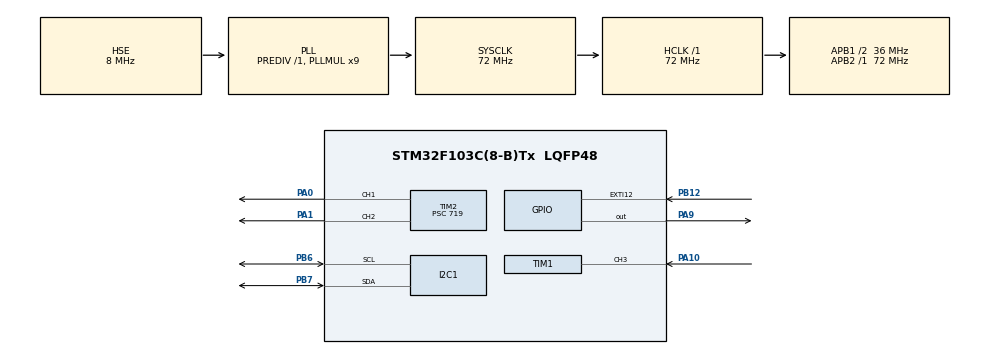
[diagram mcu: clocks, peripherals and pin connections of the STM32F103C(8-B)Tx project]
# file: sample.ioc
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I2C1.I2C_Mode=I2C_Fast
Mcu.Family=STM32F1
Mcu.Name=STM32F103C(8-B)Tx
Mcu.Package=LQFP48
NVIC.EXTI15_10_IRQn=true\:14\:0\:true\:false\:true\:true\:true\:true
NVIC.PriorityGroup=NVIC_PRIORITYGROUP_4
NVIC.TIM1_CC_IRQn=true\:0\:0\:false\:false\:true\:true\:true\:true
PA0-WKUP.Signal=S_TIM2_CH1_ETR
PA1.Signal=S_TIM2_CH2
PA10.Signal=S_TIM1_CH3
PA13.Mode=Serial_Wire
PA13.Signal=SYS_JTMS-SWDIO
PA14.Mode=Serial_Wire
PA14.Signal=SYS_JTCK-SWCLK
PA9.Signal=GPIO_Output
PB12.GPIO_ModeDefaultEXTI=GPIO_MODE_IT_FALLING
PB12.GPIO_PuPd=GPIO_PULLUP
PB12.Signal=GPXTI12
PB6.Mode=I2C
PB6.Signal=I2C1_SCL
PB7.Mode=I2C
PB7.Signal=I2C1_SDA
PC14-OSC32_IN.Mode=LSE-External-Oscillator
PC14-OSC32_IN.Signal=RCC_OSC32_IN
PC15-OSC32_OUT.Mode=LSE-External-Oscillator
PC15-OSC32_OUT.Signal=RCC_OSC32_OUT
PD0-OSC_IN.Mode=HSE-External-Oscillator
PD0-OSC_IN.Signal=RCC_OSC_IN
PD1-OSC_OUT.Mode=HSE-External-Oscillator
PD1-OSC_OUT.Signal=RCC_OSC_OUT
ProjectManager.HeapSize=0x200
ProjectManager.StackSize=0x400
ProjectManager.TargetToolchain=STM32CubeIDE
RCC.AHBFreq_Value=72000000
RCC.APB1CLKDivider=RCC_HCLK_DIV2
RCC.APB1Freq_Value=36000000
RCC.APB1TimFreq_Value=72000000
RCC.APB2Freq_Value=72000000
RCC.APB2TimFreq_Value=72000000
RCC.HCLKFreq_Value=72000000
RCC.PLLMUL=RCC_PLL_MUL9
RCC.PLLSourceVirtual=RCC_PLLSOURCE_HSE
RCC.SYSCLKFreq_VALUE=72000000
RCC.SYSCLKSource=RCC_SYSCLKSOURCE_PLLCLK
RCC.USBFreq_Value=72000000
SH.S_TIM1_CH3.0=TIM1_CH3,Input_Capture3_from_TI3
SH.S_TIM2_CH1_ETR.0=TIM2_CH1,PWM Generation1 CH1
SH.S_TIM2_CH2.0=TIM2_CH2,PWM Generation2 CH2
TIM1.Channel-Input_Capture3_from_TI3=TIM_CHANNEL_3
TIM1.Channel-Input_Capture4_from_TI3_63=TIM_CHANNEL_4
TIM1.ICPolarity_CH4=TIM_INPUTCHANNELPOLARITY_FALLING
TIM1.Prescaler=72-1
TIM2.Channel-PWM\ Generation1\ CH1=TIM_CHANNEL_1
TIM2.Channel-PWM\ Generation2\ CH2=TIM_CHANNEL_2
TIM2.Period=1999
TIM2.Prescaler=719
VP_TIM1_VS_ClockSourceINT.Mode=Internal
VP_TIM1_VS_indirect_ch3.Mode=Input_Capture4_from_TI3_63
VP_TIM2_VS_ClockSourceINT.Mode=Internal
board=custom

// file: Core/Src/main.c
/* USER CODE BEGIN Header */
/**
  ******************************************************************************
  * @file           : main.c
  * @brief          : Main program body
  ******************************************************************************
  * @attention
  *
  * Copyright (c) 2025 STMicroelectronics.
  * All rights reserved.
  *
  * This software is licensed under terms that can be found in the LICENSE file
  * in the root directory of this software component.
  * If no LICENSE file comes with this software, it is provided AS-IS.
  *
  ******************************************************************************
  */
/* USER CODE END Header */
#include "main.h"
#include "i2c.h"
#include "tim.h"
#include "gpio.h"

/* USER CODE BEGIN Includes */
#include "oled.h"
#include "font.h"

/* USER CODE END Includes */

/* USER CODE BEGIN PV */
#define OLED
//HCSR04 //OLED

#ifdef HCSR04
	int upEdge = 0;//获取上升沿时刻计数值
	int downEdge = 0;//获取下降沿时刻计数值
	float distance = 0;
#endif

#ifdef PWM
	uint16_t count = 150;
#endif

/* USER CODE END PV */

void SystemClock_Config(void);

/* USER CODE BEGIN 0 */
#ifdef HCSR04
// 输入捕获中断回调函数
	void HAL_TIM_IC_CaptureCallback(TIM_HandleTypeDef *htim)
	{
	  if(htim == &htim1 && htim -> Channel == HAL_TIM_ACTIVE_CHANNEL_4)
	  {
		  //使用捕获寄存器数值的函数HAL_TIM_ReadCapturedValue(htim, TIM_CHANNEL_3);
		  upEdge = HAL_TIM_ReadCapturedValue(htim, TIM_CHANNEL_3);
		  downEdge = HAL_TIM_ReadCapturedValue(htim, TIM_CHANNEL_4);
		  distance = ((downEdge - upEdge) * 0.034) / 2 ;
	  }
	}
#endif
#ifdef KEY
	void EXTI15_10_IRQHandler(void)
	{
	 HAL_Delay(10);
	 if(HAL_GPIO_ReadPin(GPIOB,GPIO_PIN_12)==GPIO_PIN_RESET)
	 {

	 }

	}
#endif
/* USER CODE END 0 */

int main(void)
{

  /* MCU Configuration--------------------------------------------------------*/

  /* Reset of all peripherals, Initializes the Flash interface and the Systick. */
  HAL_Init();

  /* Configure the system clock */
  SystemClock_Config();

  /* Initialize all configured peripherals */
  MX_GPIO_Init();
  MX_I2C1_Init();
  MX_TIM1_Init();
  MX_TIM2_Init();
  /* USER CODE BEGIN 2 */
#ifdef OLED
  HAL_Delay(20);
  OLED_Init();
#endif

#ifdef HCSR04
  HAL_Delay(20);
  OLED_Init();

  HAL_TIM_Base_Start(&htim1);//启动计时器计数

  //启用定时器对应通道的输入捕获功能
  HAL_TIM_IC_Start(&htim1,TIM_CHANNEL_3);//开启通道3的输入捕获
  //启动输入捕获
  HAL_TIM_IC_Start_IT(&htim1,TIM_CHANNEL_4);//开启通道4的输入捕获,启用定时器对应通道的输入捕获功能
   char message [50] = "";
#endif
#ifdef PWM
	HAL_TIM_PWM_Init(&htim2);
	HAL_TIM_PWM_Start(&htim2,TIM_CHANNEL_2);
#endif

  /* USER CODE END 2 */

  /* Infinite loop */
  /* USER CODE BEGIN WHILE */
#ifdef PWM
	__HAL_TIM_SetCompare(&htim2,TIM_CHANNEL_2,count);
#endif
  while (1)
  {
	#ifdef OLED
	  OLED_NewFrame();
	  OLED_PrintString(0, 0,"abc",&font16x16, OLED_COLOR_NORMAL);
	  OLED_ShowFrame();
	#endif

	#ifdef HCSR04
	  	  //1  首先触发超声模块测距，先将Trig拉高
	  	  HAL_GPIO_WritePin(GPIOA, GPIO_PIN_9, GPIO_PIN_SET);
	  	  //经过一段时间在拉低
	  	  HAL_Delay(1);
	  	  HAL_GPIO_WritePin(GPIOA, GPIO_PIN_9, GPIO_PIN_RESET);
	  	  //触发计数器时清零，我们就不用考虑doemEdge > upEdge 的情况了
	  	  __HAL_TIM_SET_COUNTER(&htim1,0);
	  	  HAL_Delay(20);

	  	  //3 数据展示
	  	  //下来把数据显示在屏幕上
	  	  //先套上新建针和显示帧的函数

	  	  OLED_NewFrame();
	  	  sprintf(message,"距离 = %.2fcm",distance);
	  	  OLED_PrintString(0, 0, message, &font16x16, OLED_COLOR_NORMAL);
	  	  OLED_ShowFrame();

	  	  HAL_Delay(500);
	#endif

	#ifdef PWM
	  	/*for(int i=0;i<4;i++)
	  		  {
	  			  count += 10;
	  			  HAL_Delay(1000);
	  			  __HAL_TIM_SetCompare(&htim2,TIM_CHANNEL_1,count);
	  		  }
	  		  for(int i=0;i<4;i++)
	  		  {
	  			  count -= 10;
	  			  HAL_Delay(1000);
	  			  __HAL_TIM_SetCompare(&htim2,TIM_CHANNEL_1,count);
	  		  }*/
//	  	__HAL_TIM_SetCompare(&htim2,TIM_CHANNEL_2,count);
	#endif

    /* USER CODE END WHILE */

  }
}

void SystemClock_Config(void)
{
  RCC_OscInitTypeDef RCC_OscInitStruct = {0};
  RCC_ClkInitTypeDef RCC_ClkInitStruct = {0};

  /** Initializes the RCC Oscillators according to the specified parameters
  * in the RCC_OscInitTypeDef structure.
  */
  RCC_OscInitStruct.OscillatorType = RCC_OSCILLATORTYPE_HSE;
  RCC_OscInitStruct.HSEState = RCC_HSE_ON;
  RCC_OscInitStruct.HSEPredivValue = RCC_HSE_PREDIV_DIV1;
  RCC_OscInitStruct.HSIState = RCC_HSI_ON;
  RCC_OscInitStruct.PLL.PLLState = RCC_PLL_ON;
  RCC_OscInitStruct.PLL.PLLSource = RCC_PLLSOURCE_HSE;
  RCC_OscInitStruct.PLL.PLLMUL = RCC_PLL_MUL9;
  if (HAL_RCC_OscConfig(&RCC_OscInitStruct) != HAL_OK)
  {
    Error_Handler();
  }

  /** Initializes the CPU, AHB and APB buses clocks
  */
  RCC_ClkInitStruct.ClockType = RCC_CLOCKTYPE_HCLK|RCC_CLOCKTYPE_SYSCLK
                              |RCC_CLOCKTYPE_PCLK1|RCC_CLOCKTYPE_PCLK2;
  RCC_ClkInitStruct.SYSCLKSource = RCC_SYSCLKSOURCE_PLLCLK;
  RCC_ClkInitStruct.AHBCLKDivider = RCC_SYSCLK_DIV1;
  RCC_ClkInitStruct.APB1CLKDivider = RCC_HCLK_DIV2;
  RCC_ClkInitStruct.APB2CLKDivider = RCC_HCLK_DIV1;

  if (HAL_RCC_ClockConfig(&RCC_ClkInitStruct, FLASH_LATENCY_2) != HAL_OK)
  {
    Error_Handler();
  }
}

void Error_Handler(void)
{
  __disable_irq();
  while (1)
  {
  }
}
